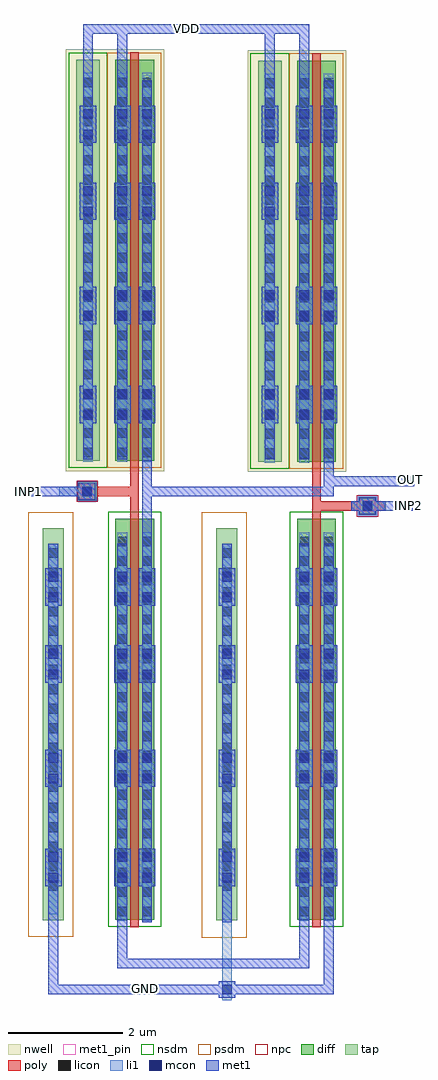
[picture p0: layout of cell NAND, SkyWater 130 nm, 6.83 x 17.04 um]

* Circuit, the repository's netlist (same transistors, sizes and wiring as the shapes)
************************************************************************
* auCdl Netlist:
* 
* Library Name:  InverterBasedTransceiver
* Top Cell Name: NAND
* View Name:     schematic
* Netlisted on:  Sep  8 20:45:25 2020
************************************************************************

.INCLUDE  $PDK_HOME/LVS/Calibre/source.cdl
*.EQUATION
*.SCALE METER
.PARAM



************************************************************************
* Library Name: InverterBasedTransceiver
* Cell Name:    NAND
* View Name:    schematic
************************************************************************

.SUBCKT NAND GND INP1 INP2 OUT VDD
*.PININFO INP1:I INP2:I OUT:O GND:B VDD:B
mMN1 net22 INP2 GND GND nshort m=1 w=7.00 l=0.15 mult=1 sa=0.0 sb=0.0 sd=0.0 
+ topography=normal area=0.063 perim=1.14
mMN0 OUT INP1 net22 GND nshort m=1 w=7.00 l=0.15 mult=1 sa=0.0 sb=0.0 sd=0.0 
+ topography=normal area=0.063 perim=1.14
mMP1 OUT INP2 VDD VDD pshort m=1 w=7.00 l=0.15 mult=1 sa=0.0 sb=0.0 sd=0.0 
+ topography=normal area=0.063 perim=1.14
mMP0 OUT INP1 VDD VDD pshort m=1 w=7.00 l=0.15 mult=1 sa=0.0 sb=0.0 sd=0.0 
+ topography=normal area=0.063 perim=1.14
.ENDS

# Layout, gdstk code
from math import pi, radians
import gdstk
lib = gdstk.Library(unit=1e-6, precision=1e-09)
def R(c, l, rs):  # rectangles x0, y0, x1, y1
    for r in rs: c.add(gdstk.rectangle(r[:2], r[2:], *l))
def A(c, l, x, y, w, h, nx, ny, dx, dy):  # array of equal rectangles
    R(c, l, [(x+i*dx, y+j*dy, x+i*dx+w, y+j*dy+h) for i in range(nx) for j in range(ny)])
nwell = (64, 20)
diff = (65, 20)
tap = (65, 44)
poly = (66, 20)
licon = (66, 44)
li1 = (67, 20)
mcon = (67, 44)
met1_pin = (68, 16)
met1 = (68, 20)
nsdm = (93, 44)
psdm = (94, 20)
npc = (95, 20)

dfl1sd_cdns_599788452902 = lib.new_cell('DFL1sd_CDNS_599788452902')
R(dfl1sd_cdns_599788452902, nwell, [(-0.18,-0.18,0.445,7.18)])
R(dfl1sd_cdns_599788452902, diff, [(0,0,0.265,7)])
A(dfl1sd_cdns_599788452902, licon, 0.055, 0.06, 0.17, 0.17, 1, 20, 0, 0.34)
R(dfl1sd_cdns_599788452902, li1, [(0.055,-0.02,0.225,6.77)])
R(dfl1sd_cdns_599788452902, psdm, [(-0.125,-0.125,0.39,7.125)])

pfet_symbolic_cdns_59978 = lib.new_cell('pfet_symbolic_CDNS_599788452901')
R(pfet_symbolic_cdns_59978, nwell, [(-0.445,-0.18,0.595,7.18)])
R(pfet_symbolic_cdns_59978, diff, [(-0.25,0,0,7), (0,0,0.15,7), (0.15,0,0.4,7)])
R(pfet_symbolic_cdns_59978, poly, [(0,-0.13,0.15,7.13), (0,-0.13,0.15,0), (0,7,0.15,7.13)])
R(pfet_symbolic_cdns_59978, li1, [(-0.225,-0.02,-0.055,6.77), (0.205,-0.02,0.375,6.77)])
R(pfet_symbolic_cdns_59978, psdm, [(-0.25,-0.125,0.4,7.125)])
pfet_symbolic_cdns_59978.add(gdstk.Reference(dfl1sd_cdns_599788452902, (0.15,0)))
pfet_symbolic_cdns_59978.add(gdstk.Reference(dfl1sd_cdns_599788452902, (0,0), rotation=pi, x_reflection=True))
pfet_symbolic_cdns_59978.add(gdstk.Label('D', (0.29,3.375), layer=83, texttype=44))
pfet_symbolic_cdns_59978.add(gdstk.Label('S', (-0.14,3.375), layer=83, texttype=44))

pfet_cdns_599788452900 = lib.new_cell('pfet_CDNS_599788452900')
R(pfet_cdns_599788452900, nwell, [(-1.125,-0.18,-0.445,7.18)])
R(pfet_cdns_599788452900, tap, [(-0.945,0,-0.535,7)])
A(pfet_cdns_599788452900, licon, -0.825, 0.06, 0.17, 0.17, 1, 20, 0, 0.34)
R(pfet_cdns_599788452900, li1, [(-0.825,-0.02,-0.655,6.77)])
R(pfet_cdns_599788452900, nsdm, [(-1.08,-0.125,-0.4,7.125)])
R(pfet_cdns_599788452900, psdm, [(-0.4,-0.125,-0.39,7.125)])
pfet_cdns_599788452900.add(gdstk.Reference(pfet_symbolic_cdns_59978, (0,0)))

dfl1sd_cdns_599788452905 = lib.new_cell('DFL1sd_CDNS_599788452905')
R(dfl1sd_cdns_599788452905, diff, [(0,0,0.265,7)])
A(dfl1sd_cdns_599788452905, licon, 0.055, 0.06, 0.17, 0.17, 1, 20, 0, 0.34)
R(dfl1sd_cdns_599788452905, li1, [(0.055,-0.02,0.225,6.77)])
R(dfl1sd_cdns_599788452905, nsdm, [(-0.125,-0.125,0.39,7.125)])

nfet_symbolic_cdns_59978 = lib.new_cell('nfet_symbolic_CDNS_599788452904')
R(nfet_symbolic_cdns_59978, diff, [(-0.25,0,0,7), (0,0,0.15,7), (0.15,0,0.4,7)])
R(nfet_symbolic_cdns_59978, poly, [(0,-0.13,0.15,7.13), (0,-0.13,0.15,0), (0,7,0.15,7.13)])
R(nfet_symbolic_cdns_59978, li1, [(-0.225,-0.02,-0.055,6.77), (0.205,-0.02,0.375,6.77)])
R(nfet_symbolic_cdns_59978, nsdm, [(-0.25,-0.125,0.4,7.125)])
nfet_symbolic_cdns_59978.add(gdstk.Reference(dfl1sd_cdns_599788452905, (0.15,0)))
nfet_symbolic_cdns_59978.add(gdstk.Reference(dfl1sd_cdns_599788452905, (0,0), rotation=pi, x_reflection=True))
nfet_symbolic_cdns_59978.add(gdstk.Label('D', (0.29,3.375), layer=83, texttype=44))
nfet_symbolic_cdns_59978.add(gdstk.Label('S', (-0.14,3.375), layer=83, texttype=44))

nfet_cdns_599788452903 = lib.new_cell('nfet_CDNS_599788452903')
nfet_cdns_599788452903.add(gdstk.Reference(nfet_symbolic_cdns_59978, (0,0)))

l1m1_c_cdns_599788452900 = lib.new_cell('L1M1_C_CDNS_599788452900')
R(l1m1_c_cdns_599788452900, li1, [(-0.085,-0.265,0.085,0.265)])
R(l1m1_c_cdns_599788452900, mcon, [(-0.085,-0.265,0.085,-0.095), (-0.085,0.095,0.085,0.265)])
R(l1m1_c_cdns_599788452900, met1, [(-0.145,-0.325,0.145,0.325)])

pyl1_c_cdns_599788452901 = lib.new_cell('PYL1_C_CDNS_599788452901')
R(pyl1_c_cdns_599788452901, poly, [(-0.165,-0.165,0.165,0.165)])
R(pyl1_c_cdns_599788452901, licon, [(-0.085,-0.085,0.085,0.085)])
R(pyl1_c_cdns_599788452901, li1, [(-0.165,-0.165,0.165,0.165)])
R(pyl1_c_cdns_599788452901, npc, [(-0.185,-0.185,0.185,0.185)])

l1m1_c_cdns_599788452902 = lib.new_cell('L1M1_C_CDNS_599788452902')
R(l1m1_c_cdns_599788452902, li1, [(-0.085,-0.085,0.085,0.085)])
R(l1m1_c_cdns_599788452902, mcon, [(-0.085,-0.085,0.085,0.085)])
R(l1m1_c_cdns_599788452902, met1, [(-0.145,-0.145,0.145,0.145)])

nand = lib.new_cell('NAND')
R(nand, tap, [(1.725,1.875,2.09,8.725), (4.755,1.875,5.12,8.725)])
R(nand, poly, [(3.255,9.015,3.405,9.665), (6.43,9.015,6.58,9.755), (6.58,9.025,7.715,9.195), (2.375,9.28,3.255,9.45), (3.255,9.665,3.405,9.77)])
A(nand, licon, 1.825, 2.395, 0.17, 0.17, 1, 5, 0, 0.34)
A(nand, licon, 4.855, 2.395, 0.17, 0.17, 1, 5, 0, 0.34)
A(nand, licon, 1.825, 4.125, 0.17, 0.17, 1, 13, 0, 0.34)
A(nand, licon, 4.855, 4.125, 0.17, 0.17, 1, 13, 0, 0.34)
R(nand, li1, [(4.855,0.485,5.025,8.455), (1.825,1.985,1.995,8.455), (7.115,9.025,7.705,9.195), (2.01,9.28,2.615,9.45)])
R(nand, met1_pin, [(3.405,0.585,3.64,0.755), (8.005,9.025,8.185,9.195), (1.39,9.28,1.57,9.445), (8.035,9.455,8.215,9.625), (4.14,17.355,4.33,17.525)])
R(nand, met1, [(1.825,0.585,6.805,0.755), (1.825,0.585,1.995,8.455), (6.635,0.585,6.805,8.455), (3.03,1.035,6.205,1.205), (3.03,1.035,3.2,8.455), (6.205,1.035,6.375,8.455), (3.46,1.845,3.63,9.45), (4.855,1.845,5.025,8.455), (7.115,9.025,8.185,9.195), (3.46,9.185,3.63,16.535), (1.39,9.28,2.615,9.45), (3.46,9.28,6.805,9.45), (6.635,9.28,6.805,16.535), (6.805,9.455,8.215,9.625), (2.43,9.925,2.6,17.525), (3.03,9.925,3.2,17.525), (5.605,9.925,5.775,17.525), (6.205,9.925,6.375,17.525), (2.43,17.355,6.375,17.525)])
R(nand, psdm, [(4.5,1.57,5.29,9.005), (1.47,1.59,2.26,9.005)])
nand.add(gdstk.Reference(pfet_cdns_599788452900, (6.43,9.885)))
nand.add(gdstk.Reference(pfet_cdns_599788452900, (3.255,9.9)))
nand.add(gdstk.Reference(nfet_cdns_599788452903, (6.58,1.885), rotation=pi, x_reflection=True))
nand.add(gdstk.Reference(nfet_cdns_599788452903, (3.255,1.885)))
nand.add(gdstk.Reference(l1m1_c_cdns_599788452900, (6.72,10.88)))
nand.add(gdstk.Reference(l1m1_c_cdns_599788452900, (6.72,15.775)))
nand.add(gdstk.Reference(l1m1_c_cdns_599788452900, (6.72,14.43)))
nand.add(gdstk.Reference(l1m1_c_cdns_599788452900, (6.72,12.61)))
nand.add(gdstk.Reference(l1m1_c_cdns_599788452900, (6.29,10.88)))
nand.add(gdstk.Reference(l1m1_c_cdns_599788452900, (6.29,15.775)))
nand.add(gdstk.Reference(l1m1_c_cdns_599788452900, (6.29,14.43)))
nand.add(gdstk.Reference(l1m1_c_cdns_599788452900, (6.29,12.61)))
nand.add(gdstk.Reference(l1m1_c_cdns_599788452900, (5.69,10.88)))
nand.add(gdstk.Reference(l1m1_c_cdns_599788452900, (5.69,15.775)))
nand.add(gdstk.Reference(l1m1_c_cdns_599788452900, (5.69,14.43)))
nand.add(gdstk.Reference(l1m1_c_cdns_599788452900, (5.69,12.61)))
nand.add(gdstk.Reference(l1m1_c_cdns_599788452900, (3.545,10.88)))
nand.add(gdstk.Reference(l1m1_c_cdns_599788452900, (3.545,15.775)))
nand.add(gdstk.Reference(l1m1_c_cdns_599788452900, (3.545,14.43)))
nand.add(gdstk.Reference(l1m1_c_cdns_599788452900, (3.545,12.61)))
nand.add(gdstk.Reference(l1m1_c_cdns_599788452900, (3.115,10.88)))
nand.add(gdstk.Reference(l1m1_c_cdns_599788452900, (3.115,15.775)))
nand.add(gdstk.Reference(l1m1_c_cdns_599788452900, (3.115,14.43)))
nand.add(gdstk.Reference(l1m1_c_cdns_599788452900, (3.115,12.61)))
nand.add(gdstk.Reference(l1m1_c_cdns_599788452900, (2.515,10.88)))
nand.add(gdstk.Reference(l1m1_c_cdns_599788452900, (2.515,15.775)))
nand.add(gdstk.Reference(l1m1_c_cdns_599788452900, (2.515,14.43)))
nand.add(gdstk.Reference(l1m1_c_cdns_599788452900, (2.515,12.61)))
nand.add(gdstk.Reference(l1m1_c_cdns_599788452900, (6.29,7.695), rotation=pi, x_reflection=True))
nand.add(gdstk.Reference(l1m1_c_cdns_599788452900, (6.29,6.35), rotation=pi, x_reflection=True))
nand.add(gdstk.Reference(l1m1_c_cdns_599788452900, (6.29,4.53), rotation=pi, x_reflection=True))
nand.add(gdstk.Reference(l1m1_c_cdns_599788452900, (6.29,2.8), rotation=pi, x_reflection=True))
nand.add(gdstk.Reference(l1m1_c_cdns_599788452900, (6.72,7.695), rotation=pi, x_reflection=True))
nand.add(gdstk.Reference(l1m1_c_cdns_599788452900, (6.72,6.35), rotation=pi, x_reflection=True))
nand.add(gdstk.Reference(l1m1_c_cdns_599788452900, (6.72,4.53), rotation=pi, x_reflection=True))
nand.add(gdstk.Reference(l1m1_c_cdns_599788452900, (6.72,2.8), rotation=pi, x_reflection=True))
nand.add(gdstk.Reference(l1m1_c_cdns_599788452900, (3.545,7.695)))
nand.add(gdstk.Reference(l1m1_c_cdns_599788452900, (3.545,6.35)))
nand.add(gdstk.Reference(l1m1_c_cdns_599788452900, (3.545,4.53)))
nand.add(gdstk.Reference(l1m1_c_cdns_599788452900, (3.545,2.8)))
nand.add(gdstk.Reference(l1m1_c_cdns_599788452900, (3.115,7.695)))
nand.add(gdstk.Reference(l1m1_c_cdns_599788452900, (3.115,6.35)))
nand.add(gdstk.Reference(l1m1_c_cdns_599788452900, (3.115,4.53)))
nand.add(gdstk.Reference(l1m1_c_cdns_599788452900, (3.115,2.8)))
nand.add(gdstk.Reference(l1m1_c_cdns_599788452900, (4.94,7.695)))
nand.add(gdstk.Reference(l1m1_c_cdns_599788452900, (4.94,6.35)))
nand.add(gdstk.Reference(l1m1_c_cdns_599788452900, (4.94,4.53)))
nand.add(gdstk.Reference(l1m1_c_cdns_599788452900, (4.94,2.8)))
nand.add(gdstk.Reference(l1m1_c_cdns_599788452900, (1.91,2.8)))
nand.add(gdstk.Reference(l1m1_c_cdns_599788452900, (1.91,7.695)))
nand.add(gdstk.Reference(l1m1_c_cdns_599788452900, (1.91,6.35)))
nand.add(gdstk.Reference(l1m1_c_cdns_599788452900, (1.91,4.53)))
nand.add(gdstk.Reference(pyl1_c_cdns_599788452901, (7.395,9.11), rotation=pi, x_reflection=True))
nand.add(gdstk.Reference(pyl1_c_cdns_599788452901, (2.5,9.365)))
nand.add(gdstk.Reference(l1m1_c_cdns_599788452902, (4.94,0.67)))
nand.add(gdstk.Reference(l1m1_c_cdns_599788452902, (7.395,9.11), rotation=pi, x_reflection=True))
nand.add(gdstk.Reference(l1m1_c_cdns_599788452902, (2.5,9.365)))
nand.add(gdstk.Label('GND', (3.515,0.685), layer=68, texttype=20))
nand.add(gdstk.Label('VDD', (4.235,17.455), layer=68, texttype=20))
nand.add(gdstk.Label('OUT', (8.14,9.565), layer=68, texttype=20))
nand.add(gdstk.Label('INP2', (8.105,9.12), layer=68, texttype=20))
nand.add(gdstk.Label('INP1', (1.47,9.37), layer=68, texttype=20))

lib.write_gds('NAND.gds')
